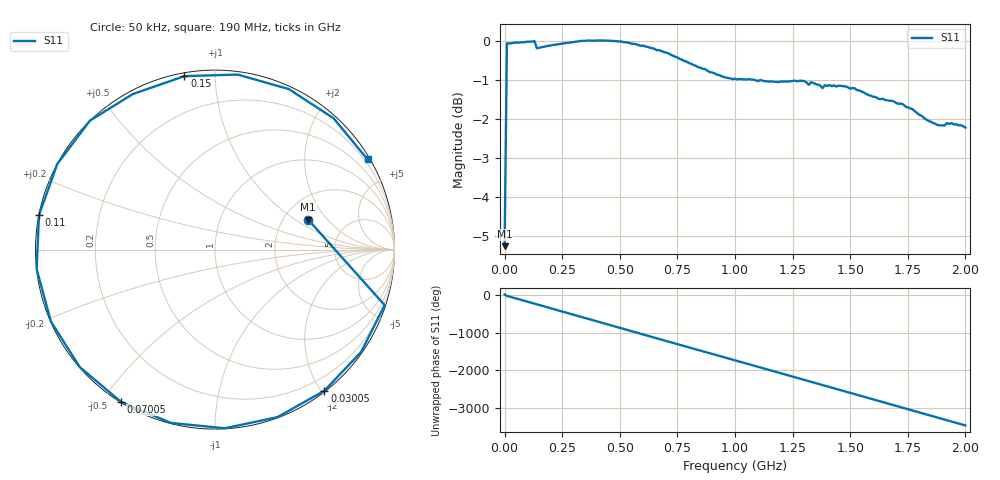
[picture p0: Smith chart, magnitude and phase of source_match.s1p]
! Created with skrf 1.8.0 (http://scikit-rf.org).
# Hz S RI R 50.0
!freq ReS11 ImS11
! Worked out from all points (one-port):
!   201 points, 50 kHz to 2 GHz, reference 50 ohm
!   lowest |S11| = -5.3 dB at 50 kHz (marker M1), VSWR 3.40, Z = 136 + j64.3 ohm
!   |S11| at or under -10 dB: nowhere
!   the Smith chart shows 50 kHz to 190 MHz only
!   S11 on the Smith chart (normalised r, x): 50 kHz: 2.72, +1.29; 30.05 MHz: 0.01, -2.04; 70.05 MHz: 0.00, -0.56; 110 MHz: 0.00, +0.10; 150 MHz: 0.02, +0.84; 190 MHz: 0.09, +3.65
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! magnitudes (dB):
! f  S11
! 50 kHz  -5.3
! 10.05 MHz  0.0
! 30.05 MHz  0.0
! 70.05 MHz  0.0
! 110 MHz  0.0
! 130 MHz  0.0
! 140 MHz  -0.2
! 150 MHz  -0.2
! 190 MHz  -0.1
! 250 MHz  -0.1
! 360 MHz  0.0
! 500 MHz  0.0
! 620 MHz  -0.1
! 750 MHz  -0.4
! 890 MHz  -0.8
! 1 GHz  -1.0
! 1.25 GHz  -1.0
! 1.3 GHz  -1.0
! 1.32 GHz  -1.1
! 1.33 GHz  -1.0
! 1.38 GHz  -1.2
! 1.39 GHz  -1.1
! 1.41 GHz  -1.1
! 1.5 GHz  -1.2
! 1.75 GHz  -1.7
! 1.88 GHz  -2.2
! 1.94 GHz  -2.1
! 2 GHz  -2.2
